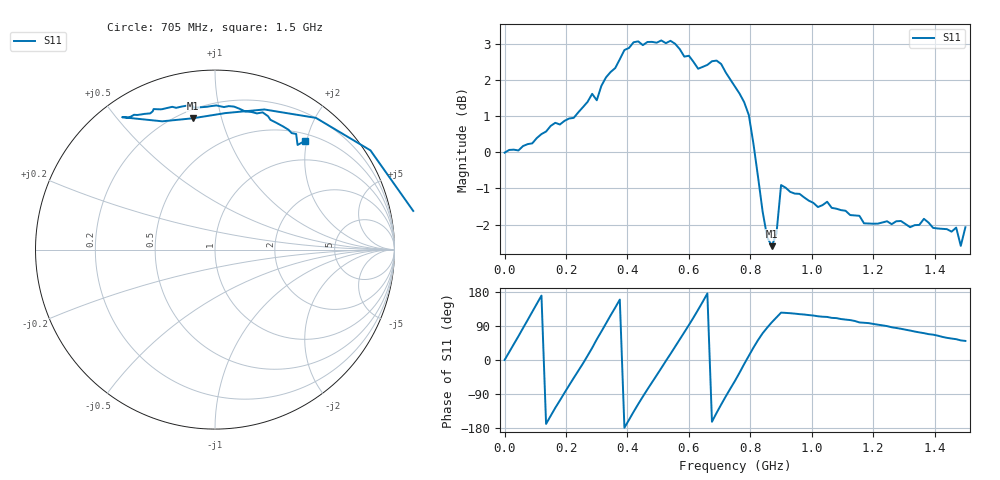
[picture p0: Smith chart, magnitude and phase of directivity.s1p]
! Created with skrf 1.8.0 (http://scikit-rf.org).
# Hz S RI R 50.0
!freq ReS11 ImS11
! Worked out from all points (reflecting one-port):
!   101 points, 50 kHz to 1.5 GHz, reference 50 ohm
!   lowest |S11| = -2.6 dB at 870 MHz (marker M1), VSWR 6.75, Z = 12.5 + j40.6 ohm
!   phase of S11 starts at 0 deg and turns +1130 deg over the sweep
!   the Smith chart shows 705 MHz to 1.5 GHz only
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50000  0.9988 0.00167
6.0048e7  0.1028 1.015
9.0047e7  -0.6206 0.8204
1.20046e8  -1.043 0.1847
1.50045e8  -0.915 -0.5873
1.950435e8  0.0659 -1.103
2.40042e8  0.9991 -0.5393
2.70041e8  1.152 0.2252
3.0004e8  0.6857 0.9598
3.30039e8  -0.1403 1.261
3.750375e8  -1.258 0.4713
4.20036e8  -1.031 -0.9743
4.650345e8  0.3088 -1.386
4.950335e8  1.081 -0.9154
5.250325e8  1.413 -0.0604
5.70031e8  0.8122 1.125
6.150295e8  -0.5032 1.234
6.60028e8  -1.316 0.1015
7.050265e8  -0.6114 -1.174
7.50025e8  0.7073 -1.008
7.950235e8  1.104 0.2153
8.250225e8  0.5623 0.7339
8.70021e8  -0.1248 0.7314
9.0002e8  -0.5174 0.7377
9.450185e8  -0.4692 0.7408
1.125012e9  -0.2164 0.79
1.320006e9  0.1677 0.7701
1.5e9  0.5028 0.6067
